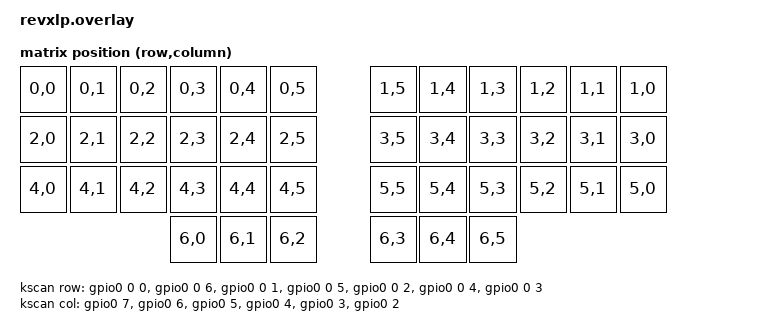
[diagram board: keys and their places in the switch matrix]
#include <dt-bindings/zmk/matrix_transform.h>



/ {
    chosen {
        zmk,kscan = &kscan;
        zmk,matrix_transform = &default_transform;
    };



    // Трансформация матрицы
    default_transform: keymap_transform_0 {
        compatible = "zmk,matrix-transform";
        columns = <6>;
        rows = <7>;
        map = <
            RC(0,0) RC(0,1) RC(0,2) RC(0,3) RC(0,4) RC(0,5) RC(1,5) RC(1,4) RC(1,3) RC(1,2) RC(1,1) RC(1,0)
            RC(2,0) RC(2,1) RC(2,2) RC(2,3) RC(2,4) RC(2,5) RC(3,5) RC(3,4) RC(3,3) RC(3,2) RC(3,1) RC(3,0)
            RC(4,0) RC(4,1) RC(4,2) RC(4,3) RC(4,4) RC(4,5) RC(5,5) RC(5,4) RC(5,3) RC(5,2) RC(5,1) RC(5,0)
                    RC(6,0) RC(6,1) RC(6,2) RC(6,3) RC(6,4) RC(6,5)
        >;
    };

    // Скан матрицы
    kscan: kscan {
        compatible = "zmk,kscan-gpio-matrix";
        label = "KSCAN";
        diode-direction = "col2row";
        wakeup-source;

        col-gpios =
            <&gpio0 7 (GPIO_ACTIVE_HIGH | GPIO_PULL_UP)>,
            <&gpio0 6 (GPIO_ACTIVE_HIGH | GPIO_PULL_UP)>,
            <&gpio0 5 (GPIO_ACTIVE_HIGH | GPIO_PULL_UP)>,
            <&gpio0 4 (GPIO_ACTIVE_HIGH | GPIO_PULL_UP)>,
            <&gpio0 3 (GPIO_ACTIVE_HIGH | GPIO_PULL_UP)>,
            <&gpio0 2 (GPIO_ACTIVE_HIGH | GPIO_PULL_UP)>;
        

        row-gpios =
            <&gpio0 0 0 (GPIO_ACTIVE_HIGH | GPIO_PULL_DOWN)>,
            <&gpio0 0 6 (GPIO_ACTIVE_HIGH | GPIO_PULL_DOWN)>,
            <&gpio0 0 1 (GPIO_ACTIVE_HIGH | GPIO_PULL_DOWN)>,
            <&gpio0 0 5 (GPIO_ACTIVE_HIGH | GPIO_PULL_DOWN)>,
            <&gpio0 0 2 (GPIO_ACTIVE_HIGH | GPIO_PULL_DOWN)>,
            <&gpio0 0 4 (GPIO_ACTIVE_HIGH | GPIO_PULL_DOWN)>,
            <&gpio0 0 3 (GPIO_ACTIVE_HIGH | GPIO_PULL_DOWN)>
        ;
    };
};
